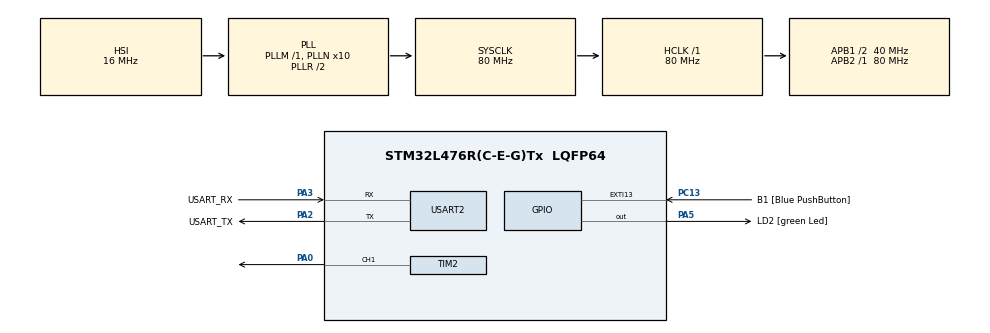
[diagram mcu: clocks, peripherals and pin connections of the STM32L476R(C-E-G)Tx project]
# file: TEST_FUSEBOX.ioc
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Mcu.Family=STM32L4
Mcu.Name=STM32L476R(C-E-G)Tx
Mcu.Package=LQFP64
NVIC.PriorityGroup=NVIC_PRIORITYGROUP_4
PA0.Signal=S_TIM2_CH1
PA13\ (JTMS-SWDIO).GPIO_Label=TMS
PA13\ (JTMS-SWDIO).Mode=Serial_Wire
PA13\ (JTMS-SWDIO).Signal=SYS_JTMS-SWDIO
PA14\ (JTCK-SWCLK).GPIO_Label=TCK
PA14\ (JTCK-SWCLK).Mode=Serial_Wire
PA14\ (JTCK-SWCLK).Signal=SYS_JTCK-SWCLK
PA2.GPIO_Label=USART_TX
PA2.GPIO_Mode=GPIO_MODE_AF_PP
PA2.GPIO_PuPd=GPIO_NOPULL
PA2.GPIO_Speed=GPIO_SPEED_FREQ_VERY_HIGH
PA2.Mode=Asynchronous
PA2.Signal=USART2_TX
PA3.GPIO_Label=USART_RX
PA3.GPIO_Mode=GPIO_MODE_AF_PP
PA3.GPIO_PuPd=GPIO_NOPULL
PA3.GPIO_Speed=GPIO_SPEED_FREQ_VERY_HIGH
PA3.Mode=Asynchronous
PA3.Signal=USART2_RX
PA5.GPIO_Label=LD2 [green Led]
PA5.GPIO_ModeDefaultOutputPP=GPIO_MODE_OUTPUT_PP
PA5.GPIO_PuPd=GPIO_NOPULL
PA5.GPIO_Speed=GPIO_SPEED_FREQ_LOW
PA5.Signal=GPIO_Output
PB3\ (JTDO-TRACESWO).GPIO_Label=SWO
PB3\ (JTDO-TRACESWO).Signal=SYS_JTDO-SWO
PC13.GPIO_Label=B1 [Blue PushButton]
PC13.GPIO_ModeDefaultEXTI=GPIO_MODE_IT_FALLING
PC13.GPIO_PuPd=GPIO_NOPULL
PC13.Signal=GPXTI13
PC14-OSC32_IN\ (PC14).Mode=LSE-External-Oscillator
PC14-OSC32_IN\ (PC14).Signal=RCC_OSC32_IN
PC15-OSC32_OUT\ (PC15).Mode=LSE-External-Oscillator
PC15-OSC32_OUT\ (PC15).Signal=RCC_OSC32_OUT
PH0-OSC_IN\ (PH0).Signal=RCC_OSC_IN
PH1-OSC_OUT\ (PH1).Signal=RCC_OSC_OUT
ProjectManager.HeapSize=0x200
ProjectManager.StackSize=0x400
ProjectManager.TargetToolchain=STM32CubeIDE
RCC.ADCFreq_Value=64000000
RCC.AHBFreq_Value=80000000
RCC.APB1CLKDivider=RCC_HCLK_DIV2
RCC.APB1Freq_Value=40000000
RCC.APB1TimFreq_Value=80000000
RCC.APB2Freq_Value=80000000
RCC.APB2TimFreq_Value=80000000
RCC.CortexFreq_Value=80000000
RCC.HCLKFreq_Value=80000000
RCC.HSE_VALUE=8000000
RCC.HSI_VALUE=16000000
RCC.MSI_VALUE=4000000
RCC.PLLN=10
RCC.PLLSourceVirtual=RCC_PLLSOURCE_HSI
RCC.PREFETCH_ENABLE=1
RCC.SYSCLKFreq_VALUE=80000000
RCC.SYSCLKSource=RCC_SYSCLKSOURCE_PLLCLK
RCC.USBFreq_Value=64000000
RCC.VCOOutputFreq_Value=160000000
SH.S_TIM2_CH1.0=TIM2_CH1,PWM Generation1 CH1
TIM2.AutoReloadPreload=TIM_AUTORELOAD_PRELOAD_ENABLE
TIM2.Channel-PWM\ Generation1\ CH1=TIM_CHANNEL_1
TIM2.Period=3200
TIM2.Prescaler=15
USART2.VirtualMode-Asynchronous=VM_ASYNC
VP_TIM2_VS_ClockSourceINT.Mode=Internal
board=NUCLEO-L476RG

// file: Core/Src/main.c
/* USER CODE BEGIN Header */
/**
  ******************************************************************************
  * @file           : main.c
  * @brief          : Main program body
  ******************************************************************************
  * @attention
  *
  * Copyright (c) 2025 STMicroelectronics.
  * All rights reserved.
  *
  * This software is licensed under terms that can be found in the LICENSE file
  * in the root directory of this software component.
  * If no LICENSE file comes with this software, it is provided AS-IS.
  *
  ******************************************************************************
  */
/* USER CODE END Header */
#include "main.h"

TIM_HandleTypeDef htim2;

UART_HandleTypeDef huart2;

void SystemClock_Config(void);
static void MX_GPIO_Init(void);
static void MX_USART2_UART_Init(void);
static void MX_TIM2_Init(void);

/* USER CODE BEGIN 0 */
void test_pwm(uint8_t duty_percent);
/* USER CODE END 0 */

int main(void)
{

  /* MCU Configuration--------------------------------------------------------*/

  /* Reset of all peripherals, Initializes the Flash interface and the Systick. */
  HAL_Init();

  /* Configure the system clock */
  SystemClock_Config();

  /* Initialize all configured peripherals */
  MX_GPIO_Init();
  MX_USART2_UART_Init();
  MX_TIM2_Init();
  /* USER CODE BEGIN 2 */
  // Start PWM channels
  HAL_TIM_PWM_Start(&htim2, TIM_CHANNEL_1);
  uint8_t pwm_levels[] = {0, 20, 50}; // Οι καταστάσεις duty cycle
  uint8_t state = 0;                   // current state
  GPIO_PinState prev_button_state = GPIO_PIN_RESET;

  /* USER CODE END 2 */

  /* Infinite loop */
  /* USER CODE BEGIN WHILE */
  while (1)
  {

    HAL_GPIO_TogglePin(LD2_GPIO_Port, LD2_Pin);
    HAL_Delay(500);

	  	GPIO_PinState button_state = HAL_GPIO_ReadPin(B1_GPIO_Port, B1_Pin);

		if (button_state == GPIO_PIN_SET && prev_button_state == GPIO_PIN_RESET)
		{
			// button just pressed
			state = (state + 1) % 3; //cycle 0 → 1 → 2 → 0
			test_pwm(pwm_levels[state]);
			HAL_Delay(200); //
		}

		prev_button_state = button_state;
    /* USER CODE END WHILE */

  }
}

void SystemClock_Config(void)
{
  RCC_OscInitTypeDef RCC_OscInitStruct = {0};
  RCC_ClkInitTypeDef RCC_ClkInitStruct = {0};

  /** Configure the main internal regulator output voltage
  */
  if (HAL_PWREx_ControlVoltageScaling(PWR_REGULATOR_VOLTAGE_SCALE1) != HAL_OK)
  {
    Error_Handler();
  }

  /** Initializes the RCC Oscillators according to the specified parameters
  * in the RCC_OscInitTypeDef structure.
  */
  RCC_OscInitStruct.OscillatorType = RCC_OSCILLATORTYPE_HSI;
  RCC_OscInitStruct.HSIState = RCC_HSI_ON;
  RCC_OscInitStruct.HSICalibrationValue = RCC_HSICALIBRATION_DEFAULT;
  RCC_OscInitStruct.PLL.PLLState = RCC_PLL_ON;
  RCC_OscInitStruct.PLL.PLLSource = RCC_PLLSOURCE_HSI;
  RCC_OscInitStruct.PLL.PLLM = 1;
  RCC_OscInitStruct.PLL.PLLN = 10;
  RCC_OscInitStruct.PLL.PLLP = RCC_PLLP_DIV7;
  RCC_OscInitStruct.PLL.PLLQ = RCC_PLLQ_DIV2;
  RCC_OscInitStruct.PLL.PLLR = RCC_PLLR_DIV2;
  if (HAL_RCC_OscConfig(&RCC_OscInitStruct) != HAL_OK)
  {
    Error_Handler();
  }

  /** Initializes the CPU, AHB and APB buses clocks
  */
  RCC_ClkInitStruct.ClockType = RCC_CLOCKTYPE_HCLK|RCC_CLOCKTYPE_SYSCLK
                              |RCC_CLOCKTYPE_PCLK1|RCC_CLOCKTYPE_PCLK2;
  RCC_ClkInitStruct.SYSCLKSource = RCC_SYSCLKSOURCE_PLLCLK;
  RCC_ClkInitStruct.AHBCLKDivider = RCC_SYSCLK_DIV1;
  RCC_ClkInitStruct.APB1CLKDivider = RCC_HCLK_DIV2;
  RCC_ClkInitStruct.APB2CLKDivider = RCC_HCLK_DIV1;

  if (HAL_RCC_ClockConfig(&RCC_ClkInitStruct, FLASH_LATENCY_4) != HAL_OK)
  {
    Error_Handler();
  }
}

static void MX_TIM2_Init(void)
{

  TIM_ClockConfigTypeDef sClockSourceConfig = {0};
  TIM_MasterConfigTypeDef sMasterConfig = {0};
  TIM_OC_InitTypeDef sConfigOC = {0};

  htim2.Instance = TIM2;
  htim2.Init.Prescaler = 15;
  htim2.Init.CounterMode = TIM_COUNTERMODE_UP;
  htim2.Init.Period = 3200;
  htim2.Init.ClockDivision = TIM_CLOCKDIVISION_DIV1;
  htim2.Init.AutoReloadPreload = TIM_AUTORELOAD_PRELOAD_ENABLE;
  if (HAL_TIM_Base_Init(&htim2) != HAL_OK)
  {
    Error_Handler();
  }
  sClockSourceConfig.ClockSource = TIM_CLOCKSOURCE_INTERNAL;
  if (HAL_TIM_ConfigClockSource(&htim2, &sClockSourceConfig) != HAL_OK)
  {
    Error_Handler();
  }
  if (HAL_TIM_PWM_Init(&htim2) != HAL_OK)
  {
    Error_Handler();
  }
  sMasterConfig.MasterOutputTrigger = TIM_TRGO_RESET;
  sMasterConfig.MasterSlaveMode = TIM_MASTERSLAVEMODE_DISABLE;
  if (HAL_TIMEx_MasterConfigSynchronization(&htim2, &sMasterConfig) != HAL_OK)
  {
    Error_Handler();
  }
  sConfigOC.OCMode = TIM_OCMODE_PWM1;
  sConfigOC.Pulse = 0;
  sConfigOC.OCPolarity = TIM_OCPOLARITY_HIGH;
  sConfigOC.OCFastMode = TIM_OCFAST_DISABLE;
  if (HAL_TIM_PWM_ConfigChannel(&htim2, &sConfigOC, TIM_CHANNEL_1) != HAL_OK)
  {
    Error_Handler();
  }
  HAL_TIM_MspPostInit(&htim2);

}

static void MX_USART2_UART_Init(void)
{

  huart2.Instance = USART2;
  huart2.Init.BaudRate = 115200;
  huart2.Init.WordLength = UART_WORDLENGTH_8B;
  huart2.Init.StopBits = UART_STOPBITS_1;
  huart2.Init.Parity = UART_PARITY_NONE;
  huart2.Init.Mode = UART_MODE_TX_RX;
  huart2.Init.HwFlowCtl = UART_HWCONTROL_NONE;
  huart2.Init.OverSampling = UART_OVERSAMPLING_16;
  huart2.Init.OneBitSampling = UART_ONE_BIT_SAMPLE_DISABLE;
  huart2.AdvancedInit.AdvFeatureInit = UART_ADVFEATURE_NO_INIT;
  if (HAL_UART_Init(&huart2) != HAL_OK)
  {
    Error_Handler();
  }

}

static void MX_GPIO_Init(void)
{
  GPIO_InitTypeDef GPIO_InitStruct = {0};

  /* GPIO Ports Clock Enable */
  __HAL_RCC_GPIOC_CLK_ENABLE();
  __HAL_RCC_GPIOH_CLK_ENABLE();
  __HAL_RCC_GPIOA_CLK_ENABLE();
  __HAL_RCC_GPIOB_CLK_ENABLE();

  /*Configure GPIO pin Output Level */
  HAL_GPIO_WritePin(LD2_GPIO_Port, LD2_Pin, GPIO_PIN_RESET);

  /*Configure GPIO pin : B1_Pin */
  GPIO_InitStruct.Pin = B1_Pin;
  GPIO_InitStruct.Mode = GPIO_MODE_IT_FALLING;
  GPIO_InitStruct.Pull = GPIO_NOPULL;
  HAL_GPIO_Init(B1_GPIO_Port, &GPIO_InitStruct);

  /*Configure GPIO pin : LD2_Pin */
  GPIO_InitStruct.Pin = LD2_Pin;
  GPIO_InitStruct.Mode = GPIO_MODE_OUTPUT_PP;
  GPIO_InitStruct.Pull = GPIO_NOPULL;
  GPIO_InitStruct.Speed = GPIO_SPEED_FREQ_LOW;
  HAL_GPIO_Init(LD2_GPIO_Port, &GPIO_InitStruct);

}

/* USER CODE BEGIN 4 */
void test_pwm(uint8_t duty_percent){
	uint32_t arr = __HAL_TIM_GET_AUTORELOAD(&htim2);  //2880
	// read the duty %  from the first byte
	//uint8_t duty_percent = 60;
	// protection: if > 100 we restrict it
	if (duty_percent > 100) duty_percent = 100;
	// we calculate the compare value
	uint32_t pwm_value = (duty_percent * arr) / 100;

	//update the duty cycle for the corresponding pwm channel
	__HAL_TIM_SET_COMPARE(&htim2, TIM_CHANNEL_1, pwm_value);
}

/* USER CODE END 4 */

void Error_Handler(void)
{
  __disable_irq();
  while (1)
  {
  }
}
